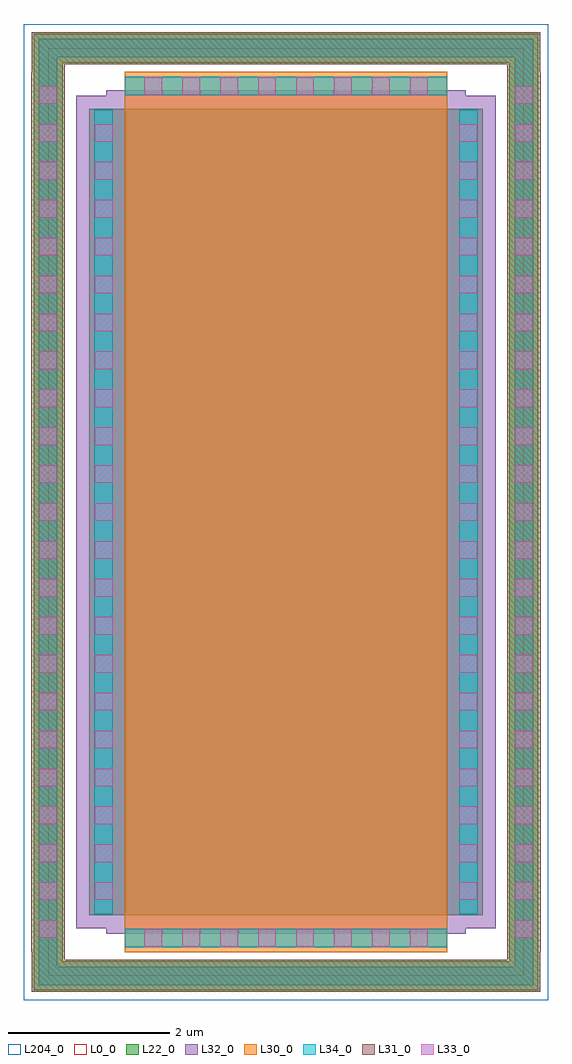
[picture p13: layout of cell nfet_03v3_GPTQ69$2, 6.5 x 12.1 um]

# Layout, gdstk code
import gdstk
lib = gdstk.Library(unit=1e-6, precision=1e-09)
def R(c, l, rs):  # rectangles x0, y0, x1, y1
    for r in rs: c.add(gdstk.rectangle(r[:2], r[2:], *l))
def A(c, l, x, y, w, h, nx, ny, dx, dy):  # array of equal rectangles
    R(c, l, [(x+i*dx, y+j*dy, x+i*dx+w, y+j*dy+h) for i in range(nx) for j in range(ny)])
L0_0 = (0, 0)
L22_0 = (22, 0)
L30_0 = (30, 0)
L31_0 = (31, 0)
L32_0 = (32, 0)
L33_0 = (33, 0)
L34_0 = (34, 0)
L204_0 = (204, 0)

nfet_03v3_gptq69_2 = lib.new_cell('nfet_03v3_GPTQ69$2')
R(nfet_03v3_gptq69_2, L0_0, [(-2.95,-5.75,2.95,5.75)])
R(nfet_03v3_gptq69_2, L22_0, [(-3.13,-5.93,3.13,-5.57), (-3.13,-5.57,-2.77,5.57), (2.77,-5.57,3.13,5.57), (-2.44,-5,2.44,5), (-3.13,5.57,3.13,5.93)])
R(nfet_03v3_gptq69_2, L30_0, [(-2,-5.46,2,5.46)])
R(nfet_03v3_gptq69_2, L31_0, [(-3.15,-5.95,3.15,-5.55), (-3.15,-5.55,-2.74,-5.445), (2.74,-5.55,3.15,-5.445), (-3.16,-5.445,-2.74,5.445), (2.74,-5.445,3.16,5.445), (-3.15,5.445,-2.74,5.55), (2.74,5.445,3.15,5.55), (-3.15,5.55,3.15,5.95)])
R(nfet_03v3_gptq69_2, L32_0, [(-2.23,-5.23,2.23,-5.16), (-2.6,-5.16,2.6,5.16), (-2.23,5.16,2.23,5.23)])
A(nfet_03v3_gptq69_2, L33_0, -1.755, -5.39, 0.22, 0.22, 8, 2, 0.47, 10.56)
A(nfet_03v3_gptq69_2, L33_0, -3.06, -5.28, 0.22, 0.22, 1, 23, 0, 0.47)
A(nfet_03v3_gptq69_2, L33_0, 2.84, -5.28, 0.22, 0.22, 1, 23, 0, 0.47)
A(nfet_03v3_gptq69_2, L33_0, -2.37, -4.81, 0.22, 0.22, 1, 21, 0, 0.47)
A(nfet_03v3_gptq69_2, L33_0, 2.15, -4.81, 0.22, 0.22, 1, 21, 0, 0.47)
R(nfet_03v3_gptq69_2, L34_0, [(-3.065,-5.865,3.065,-5.635), (-3.065,-5.635,-2.835,5.635), (2.835,-5.635,3.065,5.635), (-1.99,-5.395,1.99,-5.165), (-2.375,-4.99,-2.145,4.99), (2.145,-4.99,2.375,4.99), (-1.99,5.165,1.99,5.395), (-3.065,5.635,3.065,5.865)])
R(nfet_03v3_gptq69_2, L204_0, [(-3.25,-6.05,3.25,6.05)])

lib.write_gds('nfet_03v3_GPTQ69_2.gds')
